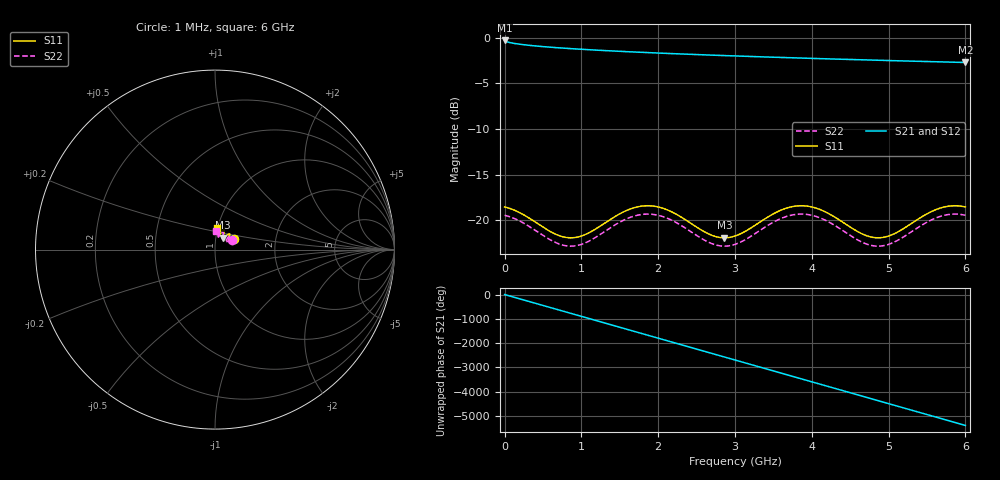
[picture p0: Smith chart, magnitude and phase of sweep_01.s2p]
! 2-port S-parameters written by miniscope-char acquisition
! instrument: SimulatedVNA
! simulated: true
# HZ S RI R 50
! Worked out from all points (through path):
!   1001 points, 1 MHz to 6 GHz, reference 50 ohm
!   highest |S21| = -0.28 dB at 1 MHz (marker M1); lowest = -2.7 dB at 6 GHz (marker M2)
!   group delay of S21, straight-line fit = 2.5 ns
!   lowest |S11| = -21.9 dB at 2.863 GHz (marker M3), VSWR 1.17, Z = 54.2 + j7.23 ohm
!   |S11| at or under -10 dB: start of sweep to end of sweep
!   |S22| runs from -22.9 to -19.3 dB; largest |S21 - S12| = 0
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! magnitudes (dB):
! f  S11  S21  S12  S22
! 1 MHz  -18.6  -0.3  -0.3  -19.5
! 211 MHz  -19.2  -0.7  -0.7  -20.2
! 702.9 MHz  -21.7  -1.1  -1.1  -22.6
! 852.9 MHz  -21.9  -1.2  -1.2  -22.9
! 1.003 GHz  -21.7  -1.3  -1.3  -22.6
! 1.633 GHz  -18.8  -1.5  -1.5  -19.7
! 1.819 GHz  -18.4  -1.6  -1.6  -19.3
! 2.005 GHz  -18.6  -1.7  -1.7  -19.5
! 2.221 GHz  -19.3  -1.7  -1.7  -20.2
! 2.653 GHz  -21.5  -1.9  -1.9  -22.4
! 2.863 GHz  -21.9  -1.9  -1.9  -22.9
! 3.001 GHz  -21.7  -2.0  -2.0  -22.7
! 3.63 GHz  -18.8  -2.2  -2.2  -19.7
! 3.816 GHz  -18.4  -2.2  -2.2  -19.3
! 4.002 GHz  -18.6  -2.3  -2.3  -19.5
! 4.212 GHz  -19.2  -2.3  -2.3  -20.2
! 4.704 GHz  -21.7  -2.4  -2.4  -22.6
! 4.854 GHz  -21.9  -2.5  -2.5  -22.9
! 5.004 GHz  -21.7  -2.5  -2.5  -22.6
! 5.628 GHz  -18.8  -2.6  -2.6  -19.7
! 5.814 GHz  -18.4  -2.7  -2.7  -19.3
! 6 GHz  -18.5  -2.7  -2.7  -19.5
